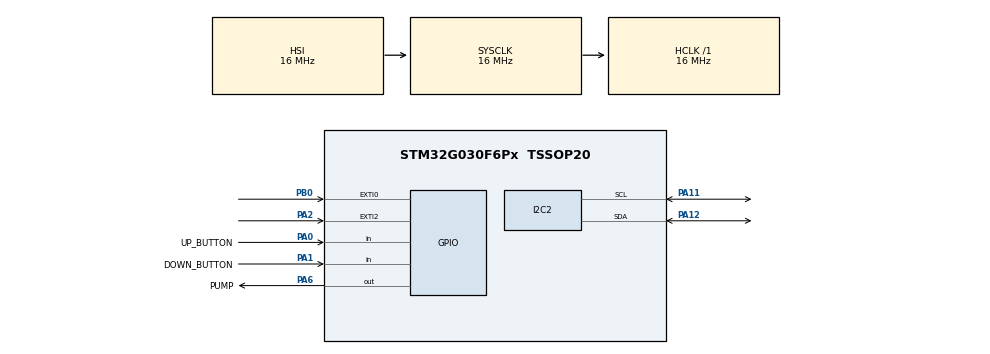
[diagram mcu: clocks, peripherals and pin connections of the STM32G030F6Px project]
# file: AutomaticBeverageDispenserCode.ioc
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Mcu.Family=STM32G0
Mcu.Name=STM32G030F6Px
Mcu.Package=TSSOP20
NVIC.EXTI0_1_IRQn=true\:0\:0\:false\:false\:true\:true\:true\:true
NVIC.EXTI2_3_IRQn=true\:0\:0\:false\:false\:true\:true\:true\:true
PA0.GPIO_Label=UP_BUTTON
PA0.Signal=GPIO_Input
PA1.GPIO_Label=DOWN_BUTTON
PA1.Signal=GPIO_Input
PA11\ [PA9].Mode=I2C
PA11\ [PA9].Signal=I2C2_SCL
PA12\ [PA10].Mode=I2C
PA12\ [PA10].Signal=I2C2_SDA
PA13.Mode=Serial_Wire
PA13.Signal=SYS_SWDIO
PA14-BOOT0.Mode=Serial_Wire
PA14-BOOT0.Signal=SYS_SWCLK
PA14-BOOT0__PA15.StandardMode=true
PA2.Signal=GPXTI2
PA6.GPIO_Label=PUMP
PA6.Signal=GPIO_Output
PB0.Signal=GPXTI0
PB0__PB1__PB2__PA8.StandardMode=true
PB3__PB4__PB5__PB6.StandardMode=true
PB7__PB8.StandardMode=true
PC14-OSC32_IN\ (PC14)__PB9.StandardMode=true
ProjectManager.HeapSize=0x200
ProjectManager.StackSize=0x400
ProjectManager.TargetToolchain=CMake
RCC.AHBFreq_Value=16000000
RCC.CortexFreq_Value=16000000
RCC.EXTERNAL_CLOCK_VALUE=12288000
RCC.HCLKFreq_Value=16000000
RCC.HSE_VALUE=8000000
RCC.HSI_VALUE=16000000
RCC.LSE_VALUE=32768
RCC.SYSCLKFreq_VALUE=16000000
RCC.VCOOutputFreq_Value=128000000
board=custom

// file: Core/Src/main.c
/* USER CODE BEGIN Header */
/**
  ******************************************************************************
  * @file           : main.c
  * @brief          : Main program body
  ******************************************************************************
  * @attention
  *
  * Copyright (c) 2026 STMicroelectronics.
  * All rights reserved.
  *
  * This software is licensed under terms that can be found in the LICENSE file
  * in the root directory of this software component.
  * If no LICENSE file comes with this software, it is provided AS-IS.
  *
  ******************************************************************************
  */
/* USER CODE END Header */
#include "main.h"
#include "i2c.h"
#include "gpio.h"

/* USER CODE BEGIN Includes */
#include "stdio.h"
#include "stm32g0xx_hal.h"
#include "ssd1306.h"
#include "ssd1306_fonts.h"

#define K_FACTOR_UL 2222 // ml per pulse / 1000 -> 2.222
#define STEP_ML 50
#define MIN_ML 50
#define MAX_ML 300
#define DELAY 50 // debouncing
#define DISPLAY_UPDATE_MS 100
/* USER CODE END Includes */

/* USER CODE BEGIN PV */

typedef enum {IDLE, POURING} State_t; // 2 states of system

uint32_t g_last_display_update = 0;

// Values at system startup

volatile uint32_t g_pulses = 0;
uint32_t g_target = 200;
volatile State_t g_state = IDLE;

/* USER CODE END PV */

void SystemClock_Config(void);
/* USER CODE BEGIN PFP */
static void Display_Update(uint32_t target_ml, uint32_t poured_ml, State_t state);
/* USER CODE END PFP */

int main(void)
{

  /* MCU Configuration--------------------------------------------------------*/

  /* Reset of all peripherals, Initializes the Flash interface and the Systick. */
  HAL_Init();

  /* Configure the system clock */
  SystemClock_Config();

  /* Initialize all configured peripherals */
  MX_GPIO_Init();
  MX_I2C2_Init();
  /* USER CODE BEGIN 2 */
ssd1306_Init();

uint8_t prev_up = 1, prev_down = 1;
uint32_t last_up_time = 0, last_down_time = 0; // debouncing
  /* USER CODE END 2 */

  /* Infinite loop */
  /* USER CODE BEGIN WHILE */
  while (1)
  {

    //  ************ BUTTON UP ***************

    uint8_t cur = HAL_GPIO_ReadPin(UP_BUTTON_GPIO_Port, UP_BUTTON_Pin);
    if (!cur && prev_up && (HAL_GetTick() - last_up_time  > DELAY))
    {
      last_up_time = HAL_GetTick();
      if (g_state == IDLE && g_target < MAX_ML)
      {
        g_target += STEP_ML;
      }
    }
prev_up = cur;

    // ************* BUTTON DOWN ************

    cur = HAL_GPIO_ReadPin(DOWN_BUTTON_GPIO_Port, DOWN_BUTTON_Pin);
    if (!cur && prev_down && (HAL_GetTick() - last_down_time > DELAY))
    {
      last_down_time = HAL_GetTick();
      if (g_state == IDLE && g_target > MIN_ML)
      {
        g_target -= STEP_ML;
      }
    }
prev_down = cur;

    //  ********** START BUTTON ***********

    uint32_t poured_ml = (g_pulses * K_FACTOR_UL) / 1000; // calculating ml value

    if (g_state == POURING)
    {
      if (poured_ml >= g_target)
      {
        HAL_GPIO_WritePin(PUMP_GPIO_Port, PUMP_Pin, GPIO_PIN_RESET);
        g_state = IDLE; // RESET
    }
    }

    //  ********** DISPLAY ***********

    if (HAL_GetTick() - g_last_display_update > DISPLAY_UPDATE_MS)
    {
      Display_Update(g_target, poured_ml, g_state);
      g_last_display_update = HAL_GetTick();
    }

    /* USER CODE END WHILE */

  }
}

void SystemClock_Config(void)
{
  RCC_OscInitTypeDef RCC_OscInitStruct = {0};
  RCC_ClkInitTypeDef RCC_ClkInitStruct = {0};

  /** Configure the main internal regulator output voltage
  */
  HAL_PWREx_ControlVoltageScaling(PWR_REGULATOR_VOLTAGE_SCALE1);

  /** Initializes the RCC Oscillators according to the specified parameters
  * in the RCC_OscInitTypeDef structure.
  */
  RCC_OscInitStruct.OscillatorType = RCC_OSCILLATORTYPE_HSI;
  RCC_OscInitStruct.HSIState = RCC_HSI_ON;
  RCC_OscInitStruct.HSIDiv = RCC_HSI_DIV1;
  RCC_OscInitStruct.HSICalibrationValue = RCC_HSICALIBRATION_DEFAULT;
  RCC_OscInitStruct.PLL.PLLState = RCC_PLL_NONE;
  if (HAL_RCC_OscConfig(&RCC_OscInitStruct) != HAL_OK)
  {
    Error_Handler();
  }

  /** Initializes the CPU, AHB and APB buses clocks
  */
  RCC_ClkInitStruct.ClockType = RCC_CLOCKTYPE_HCLK|RCC_CLOCKTYPE_SYSCLK
                              |RCC_CLOCKTYPE_PCLK1;
  RCC_ClkInitStruct.SYSCLKSource = RCC_SYSCLKSOURCE_HSI;
  RCC_ClkInitStruct.AHBCLKDivider = RCC_SYSCLK_DIV1;
  RCC_ClkInitStruct.APB1CLKDivider = RCC_HCLK_DIV1;

  if (HAL_RCC_ClockConfig(&RCC_ClkInitStruct, FLASH_LATENCY_0) != HAL_OK)
  {
    Error_Handler();
  }
}

/* USER CODE BEGIN 4 */
void HAL_GPIO_EXTI_Callback(uint16_t GPIO_Pin)
{
static uint32_t last_start_time = 0;

  // Count pulses

  if (GPIO_Pin == GPIO_PIN_10)
  {
    g_pulses++;
  }

  // START_BUTTON

  if (GPIO_Pin == GPIO_PIN_2) {

uint32_t current_time = HAL_GetTick();

if (current_time - last_start_time > DELAY) {
  last_start_time = current_time;
        if (g_state == IDLE) {
            g_pulses = 0;
            g_state  = POURING;
            HAL_GPIO_WritePin(PUMP_GPIO_Port, PUMP_Pin, GPIO_PIN_SET);   // PUMP ON
        } else {
            g_state = IDLE;
            HAL_GPIO_WritePin(PUMP_GPIO_Port, PUMP_Pin, GPIO_PIN_RESET); // STOP
        }
    }
  }
}

static void Display_Update(uint32_t target_ml, uint32_t poured_ml, State_t state)
{
  char line1[16];
  char line2[16];

  ssd1306_Fill(Black);

  snprintf(line1, sizeof(line1), "Target: %lu ml", (unsigned long)target_ml);
  ssd1306_SetCursor(0, 0);
  ssd1306_WriteString(line1, Font_7x10, White);

  if (state == POURING)
  {
    snprintf(line2, sizeof(line2), "Pour: %lu ml", (unsigned long)poured_ml);
  }
  else
  {
    snprintf(line2, sizeof(line2), "Ready");
  }

  ssd1306_SetCursor(0, 20);
  ssd1306_WriteString(line2, Font_7x10, White);
  ssd1306_UpdateScreen();
}
/* USER CODE END 4 */

void Error_Handler(void)
{
  __disable_irq();
  while (1)
  {
  }
}
